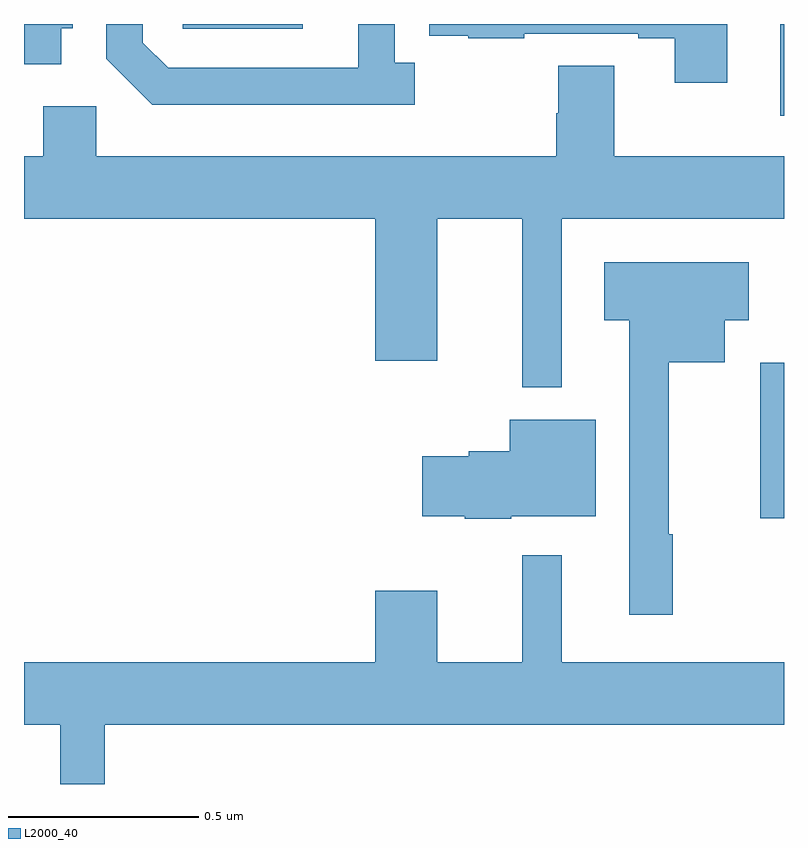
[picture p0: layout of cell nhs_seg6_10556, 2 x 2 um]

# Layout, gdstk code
import gdstk
lib = gdstk.Library(unit=1e-6, precision=1e-09)
def R(c, l, rs):  # rectangles x0, y0, x1, y1
    for r in rs: c.add(gdstk.rectangle(r[:2], r[2:], *l))
def P(c, l, *ps):  # polygons
    for p in ps: c.add(gdstk.Polygon(p, *l))
L2000_40 = (2000, 40)

nhs_seg6_10556 = lib.new_cell('nhs_seg6_10556')
R(nhs_seg6_10556, L2000_40, [(249.938,961.199,250,961.609), (249.99,962.259,250,962.5), (248.418,962.487,248.734,962.5)])
P(nhs_seg6_10556, L2000_40, [(249.85,962.5),(249.067,962.5),(249.067,962.469),(249.169,962.469),(249.169,962.463),(249.317,962.463),(249.317,962.475),(249.617,962.475),(249.617,962.463),(249.713,962.463),(249.713,962.346),(249.85,962.346)],
  [(249.028,962.398),(248.976,962.398),(248.976,962.5),(248.879,962.5),(248.879,962.385),(248.379,962.385),(248.313,962.451),(248.313,962.5),(248.217,962.5),(248.217,962.409),(248.338,962.288),(249.028,962.288)],
  [(248.098,962.489),(248.128,962.489),(248.128,962.5),(248,962.5),(248,962.394),(248.098,962.394)],
  [(249.415,961.988),(250,961.988),(250,962.152),(249.553,962.152),(249.553,962.39),(249.406,962.39),(249.406,962.265),(249.401,962.265),(249.401,962.152),(248.19,962.152),(248.19,962.284),(248.051,962.284),(248.051,962.152),(248,962.152),(248,961.988),(248.924,961.988),(248.924,961.614),(249.088,961.614),(249.088,961.988),(249.311,961.988),(249.311,961.544),(249.415,961.544)],
  [(249.707,961.157),(249.697,961.157),(249.697,961.61),(249.844,961.61),(249.844,961.721),(249.907,961.721),(249.907,961.873),(249.527,961.873),(249.527,961.721),(249.593,961.721),(249.593,960.945),(249.707,960.945)],
  [(249.282,961.205),(249.505,961.205),(249.505,961.459),(249.278,961.459),(249.278,961.376),(249.171,961.376),(249.171,961.363),(249.048,961.363),(249.048,961.205),(249.16,961.205),(249.16,961.198),(249.282,961.198)],
  [(248.213,960.656),(250,960.656),(250,960.82),(249.415,960.82),(249.415,961.102),(249.311,961.102),(249.311,960.82),(249.088,960.82),(249.088,961.009),(248.924,961.009),(248.924,960.82),(248,960.82),(248,960.656),(248.096,960.656),(248.096,960.5),(248.213,960.5)])

lib.write_gds('nhs_seg6_10556.gds')
